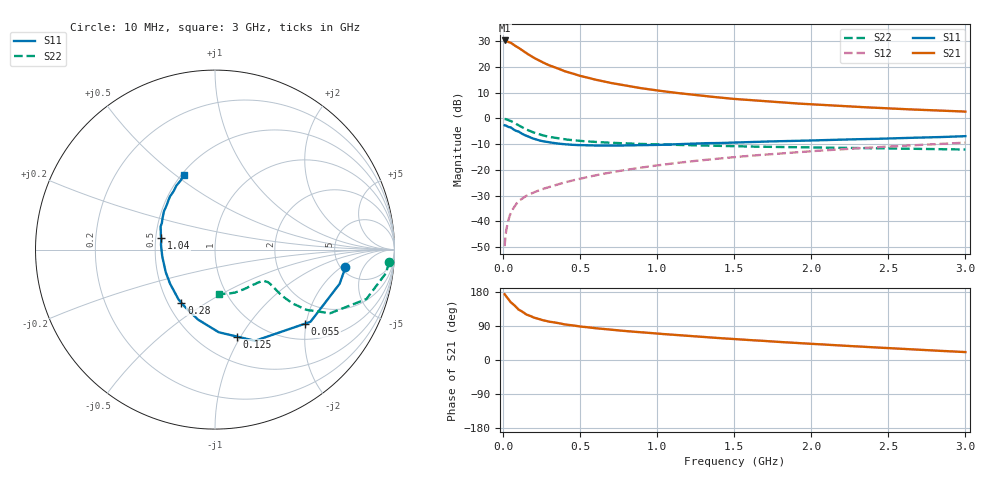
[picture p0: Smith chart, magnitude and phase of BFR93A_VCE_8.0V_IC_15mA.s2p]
! Infineon Technologies  Discrete & RF Semiconductors
! BFR93A
! VCE =  8.0 V,  IC =  15 mA
! Common Emitter S-Parameters:  Nov 2015
# GHz  S  MA  R  50
!  f  S11  S21  S12  S22
! GHz  MAG  ANG  MAG  ANG  MAG  ANG  MAG  ANG
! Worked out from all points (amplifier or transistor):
!   180 points, 10 MHz to 3 GHz, reference 50 ohm
!   highest |S21| = 30.2 dB at 10 MHz (marker M1)
!   |S21| within 3 dB of that: start of sweep to 104.1 MHz
!   unconditionally stable (mu >= 1): 508.7 MHz to 2.607 GHz
!   at 160 MHz: K = 0.59, MSG = 27.4 dB, |S12| = -29.8 dB
!   at 1.22 GHz: K = 1.08, MAG = 11.3 dB, |S12| = -16.7 dB
!   at 3 GHz: K = 0.96, MSG = 6.0 dB, |S12| = -9.4 dB
!   S11 on the Smith chart (normalised r, x): 10 MHz: 5.48, -2.33; 55 MHz: 1.38, -1.97; 125 MHz: 0.75, -0.96; 280 MHz: 0.59, -0.39; 1.04 GHz: 0.53, +0.08; 3 GHz: 0.52, +0.54
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0.01  0.7335 -7.7  32.48 173.6  0.0033 86.6  0.9735 -4.0
0.02  0.7202 -15.3  31.97 167.9  0.0065 81.2  0.9607 -7.9
0.035  0.6811 -25.8  30.34 160.4  0.0106 75.9  0.9204 -12.8
0.05  0.6669 -37.1  29.29 152.3  0.0147 73.5  0.8874 -18.1
0.055  0.6492 -39.5  28.58 150.8  0.0157 72.1  0.8708 -19.0
0.1  0.5549 -66.3  23.44 133.1  0.0247 64.5  0.7335 -28.9
0.125  0.4994 -75.9  20.83 127.5  0.0279 62.5  0.6708 -30.9
0.15  0.461 -87.4  18.47 120.3  0.0312 60.9  0.6091 -33.4
0.2  0.401 -103.7  14.98 111.9  0.0365 60.8  0.5282 -34.7
0.24  0.3693 -113.8  12.96 107.1  0.0407 61.0  0.4841 -34.7
0.28  0.3502 -122.4  11.38 103.1  0.0446 61.7  0.451 -34.4
0.3  0.3436 -126.4  10.67 101.1  0.0465 62.1  0.4363 -34.2
0.4  0.3142 -142.9  8.208 93.9  0.0569 64.1  0.3899 -32.8
0.52  0.3001 -157.3  6.461 87.6  0.0695 65.5  0.3609 -31.8
0.7  0.2962 -172.4  4.859 79.9  0.0892 66.5  0.3355 -31.9
0.9  0.3021 174.9  3.827 73.1  0.111 66.3  0.318 -33.4
1.02  0.3057 168.8  3.41 69.1  0.1241 65.8  0.3117 -34.8
1.04  0.3071 167.8  3.352 68.5  0.1263 65.7  0.3105 -35.1
1.52  0.3402 149.3  2.356 54.7  0.1786 62.5  0.2868 -43.7
2.02  0.3732 135.0  1.856 42.3  0.2319 58.1  0.2717 -55.1
2.52  0.4083 122.9  1.549 31.0  0.2851 53.0  0.2603 -68.6
3  0.4506 112.3  1.351 20.9  0.3372 47.8  0.2487 -84.9
